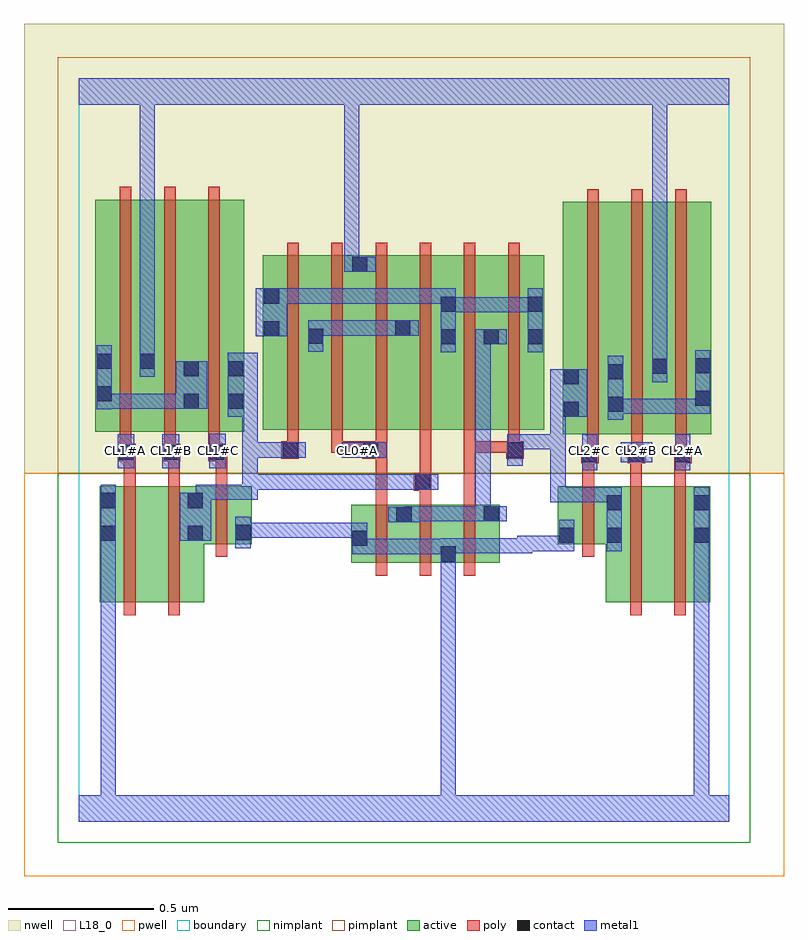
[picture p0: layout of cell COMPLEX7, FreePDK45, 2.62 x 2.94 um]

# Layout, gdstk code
import gdstk
lib = gdstk.Library(unit=1e-6, precision=1e-09)
def R(c, l, rs):  # rectangles x0, y0, x1, y1
    for r in rs: c.add(gdstk.rectangle(r[:2], r[2:], *l))
def A(c, l, x, y, w, h, nx, ny, dx, dy):  # array of equal rectangles
    R(c, l, [(x+i*dx, y+j*dy, x+i*dx+w, y+j*dy+h) for i in range(nx) for j in range(ny)])
active = (1, 0)
pwell = (2, 0)
nwell = (3, 0)
nimplant = (4, 0)
pimplant = (5, 0)
poly = (9, 0)
contact = (10, 0)
metal1 = (11, 0)
L18_0 = (18, 0)
boundary = (235, 0)

complex7 = lib.new_cell('COMPLEX7')
A(complex7, active, 1.666, 1.334, 0.06, 0.71, 3, 1, 0.152, 0)
R(complex7, active, [(0.072,0.756,0.132,1.156), (0.072,0.756,0.252,1.156), (0.252,0.756,0.432,1.156), (0.372,0.756,0.432,1.156), (1.814,0.756,1.874,1.156), (1.814,0.756,1.994,1.156), (1.994,0.756,2.174,1.156), (2.114,0.756,2.174,1.156), (0.938,0.892,0.998,1.092), (0.938,0.892,1.15,1.092), (1.09,0.892,1.302,1.092), (1.242,0.892,1.45,1.092), (1.242,0.892,1.302,1.058), (1.39,0.892,1.45,1.092), (0.372,0.956,0.596,1.156), (0.536,0.956,0.596,1.156), (1.09,0.956,1.15,1.09), (1.65,0.956,1.874,1.156), (1.65,0.956,1.71,1.156), (1.666,1.334,1.878,2.134), (1.818,1.334,2.03,2.134), (1.97,1.334,2.178,2.134), (2.118,1.334,2.178,2.044), (0.058,1.342,0.266,2.142), (0.058,1.342,0.118,2.142), (0.206,1.342,0.418,2.142), (0.358,1.342,0.57,2.142), (0.358,1.342,0.418,2.142), (0.51,1.342,0.57,2.044), (0.634,1.35,0.846,1.95), (0.634,1.35,0.694,1.844), (0.786,1.35,0.998,1.95), (0.786,1.35,0.846,1.844), (0.938,1.35,0.998,1.95), (0.938,1.35,1.146,1.95), (1.086,1.35,1.146,1.844), (1.086,1.35,1.302,1.95), (1.242,1.35,1.302,1.844), (1.242,1.35,1.45,1.95), (1.39,1.35,1.602,1.95), (1.39,1.35,1.45,1.844), (1.542,1.35,1.602,1.95), (0.206,1.422,0.266,2.142)])
R(complex7, pwell, [(-0.188,-0.188,2.428,1.2)])
R(complex7, nwell, [(-0.188,1.2,2.428,2.748)])
R(complex7, nimplant, [(-0.072,-0.072,2.312,1.2)])
R(complex7, pimplant, [(-0.072,1.2,2.312,2.632)])
A(complex7, poly, 1.022, 0.848, 0.04, 0.288, 3, 1, 0.152, 0)
A(complex7, poly, 1.73, 1.234, 0.06, 0.06, 3, 1, 0.16, 0)
A(complex7, poly, 1.75, 1.254, 0.04, 0.076, 3, 1, 0.152, 0)
A(complex7, poly, 0.142, 1.262, 0.04, 0.076, 3, 1, 0.152, 0)
A(complex7, poly, 0.718, 1.27, 0.04, 0.076, 3, 1, 0.152, 0)
A(complex7, poly, 1.75, 1.29, 0.04, 0.888, 3, 1, 0.152, 0)
A(complex7, poly, 0.142, 1.298, 0.04, 0.888, 3, 1, 0.152, 0)
A(complex7, poly, 0.718, 1.306, 0.04, 0.688, 6, 1, 0.152, 0)
R(complex7, poly, [(0.156,0.712,0.196,1.2), (0.308,0.712,0.348,1.2), (1.898,0.712,1.938,1.2), (2.05,0.712,2.09,1.2), (0.472,0.912,0.512,1.2), (1.734,0.912,1.774,1.2), (1.022,1.096,1.062,1.29), (1.174,1.096,1.214,1.18), (1.326,1.096,1.366,1.31), (1.154,1.14,1.214,1.2), (0.156,1.16,0.196,1.282), (0.308,1.16,0.348,1.282), (0.472,1.16,0.512,1.282), (1.174,1.16,1.214,1.2), (1.174,1.16,1.214,1.2), (1.174,1.16,1.214,1.346), (1.734,1.16,1.774,1.274), (1.898,1.16,1.938,1.274), (2.05,1.16,2.09,1.274), (1.898,1.234,1.938,1.274), (1.898,1.234,1.938,1.274), (0.136,1.242,0.196,1.302), (0.29,1.242,0.35,1.302), (0.446,1.242,0.506,1.302), (0.466,1.242,0.506,1.282), (0.466,1.242,0.512,1.282), (0.698,1.25,0.758,1.31), (0.976,1.25,1.062,1.31), (1.022,1.25,1.062,1.29), (1.022,1.25,1.062,1.29), (1.472,1.25,1.532,1.31), (1.75,1.254,1.79,1.294), (1.75,1.254,1.79,1.294), (2.054,1.254,2.094,1.294), (2.054,1.254,2.094,1.294), (0.142,1.262,0.182,1.302), (0.142,1.262,0.182,1.302), (0.294,1.262,0.334,1.302), (0.294,1.262,0.334,1.302), (0.87,1.27,0.91,1.31), (0.87,1.27,1.016,1.31), (0.976,1.27,1.016,1.31), (0.976,1.27,1.016,1.31), (1.326,1.27,1.366,1.346), (1.326,1.27,1.366,1.31), (1.326,1.27,1.366,1.31), (1.326,1.27,1.366,1.31), (1.326,1.27,1.366,1.31), (1.326,1.27,1.366,1.31), (1.326,1.27,1.512,1.31), (1.478,1.27,1.518,1.346)])
A(complex7, contact, 1.734, 1.238, 0.052, 0.052, 3, 1, 0.16, 0)
R(complex7, contact, [(1.246,0.896,1.298,0.948), (0.942,0.95,0.994,1.002), (1.654,0.96,1.706,1.012), (1.818,0.96,1.87,1.012), (2.118,0.96,2.17,1.012), (0.076,0.968,0.128,1.02), (0.376,0.968,0.428,1.02), (0.54,0.97,0.592,1.022), (1.094,1.032,1.146,1.084), (1.394,1.034,1.446,1.086), (1.818,1.072,1.87,1.124), (2.118,1.072,2.17,1.124), (0.076,1.08,0.128,1.132), (0.376,1.08,0.428,1.132), (1.158,1.144,1.21,1.196), (0.14,1.246,0.192,1.298), (0.294,1.246,0.346,1.298), (0.45,1.246,0.502,1.298), (0.702,1.254,0.754,1.306), (0.98,1.254,1.032,1.306), (1.476,1.254,1.528,1.306), (1.67,1.394,1.722,1.446), (1.822,1.412,1.874,1.464), (0.362,1.422,0.414,1.474), (0.514,1.422,0.566,1.474), (2.122,1.432,2.174,1.484), (0.062,1.448,0.114,1.5), (1.67,1.506,1.722,1.558), (1.822,1.524,1.874,1.576), (0.362,1.534,0.414,1.586), (0.514,1.534,0.566,1.586), (1.974,1.542,2.026,1.594), (2.122,1.544,2.174,1.596), (0.062,1.56,0.114,1.612), (0.21,1.56,0.262,1.612), (1.246,1.644,1.298,1.696), (1.394,1.644,1.446,1.696), (1.546,1.644,1.598,1.696), (0.79,1.646,0.842,1.698), (0.638,1.672,0.69,1.724), (1.09,1.674,1.142,1.726), (1.246,1.756,1.298,1.808), (1.546,1.756,1.598,1.808), (0.638,1.784,0.69,1.836), (0.942,1.894,0.994,1.946)])
R(complex7, metal1, [(0,0,2.24,0.092), (0.076,0.04,0.128,0.092), (0.076,0.04,0.128,0.092), (0.076,0.04,0.128,0.092), (0.076,0.04,0.128,0.092), (0.076,0.04,0.128,0.092), (0.076,0.04,0.128,0.092), (0.076,0.04,0.128,0.092), (0.076,0.04,0.128,0.092), (0.076,0.04,0.128,0.092), (0.076,0.04,0.128,0.092), (0.076,0.04,0.128,0.992), (1.246,0.04,1.298,0.092), (1.246,0.04,1.298,0.092), (1.246,0.04,1.298,0.092), (1.246,0.04,1.298,0.092), (1.246,0.04,1.298,0.092), (1.246,0.04,1.298,0.092), (1.246,0.04,1.298,0.092), (1.246,0.04,1.298,0.092), (1.246,0.04,1.298,0.092), (1.246,0.04,1.298,0.092), (1.246,0.04,1.298,0.092), (1.246,0.04,1.298,0.092), (1.246,0.04,1.298,0.092), (1.246,0.04,1.298,0.092), (1.246,0.04,1.298,0.092), (1.246,0.04,1.298,0.092), (1.246,0.04,1.298,0.92), (2.118,0.04,2.17,0.092), (2.118,0.04,2.17,0.092), (2.118,0.04,2.17,0.092), (2.118,0.04,2.17,0.092), (2.118,0.04,2.17,0.984), (1.246,0.868,1.298,0.976), (0.942,0.922,0.994,0.974), (0.942,0.922,0.994,0.974), (0.942,0.922,0.994,1.03), (0.942,0.922,1.188,0.974), (1.136,0.922,1.188,0.974), (1.136,0.922,1.188,0.974), (1.136,0.922,1.188,0.974), (1.136,0.922,1.298,0.974), (1.246,0.924,1.298,0.976), (1.246,0.924,1.298,0.976), (1.246,0.924,1.452,0.976), (1.4,0.924,1.452,0.976), (1.4,0.924,1.452,0.976), (1.4,0.924,1.452,0.976), (1.4,0.924,1.562,0.976), (1.51,0.924,1.562,0.984), (1.51,0.932,1.706,0.984), (1.654,0.932,1.706,1.04), (1.818,0.932,1.87,1.152), (2.118,0.932,2.17,0.984), (2.118,0.932,2.17,0.984), (2.118,0.932,2.17,0.984), (2.118,0.932,2.17,0.984), (2.118,0.932,2.17,0.984), (2.118,0.932,2.17,0.984), (2.118,0.932,2.17,0.984), (2.118,0.932,2.17,0.984), (2.118,0.932,2.17,1.152), (0.076,0.94,0.128,0.992), (0.076,0.94,0.128,0.992), (0.076,0.94,0.128,1.16), (0.54,0.942,0.592,1.05), (0.348,0.968,0.456,1.132), (0.54,0.978,0.732,1.03), (0.68,0.978,0.732,1.03), (0.68,0.978,0.732,1.03), (0.68,0.978,0.732,1.03), (0.68,0.978,0.842,1.03), (0.79,0.978,0.842,1.03), (0.79,0.978,0.842,1.03), (0.79,0.978,0.842,1.03), (0.79,0.978,0.994,1.03), (0.942,0.978,0.994,1.03), (0.942,0.978,0.994,1.03), (1.066,1.032,1.174,1.084), (1.122,1.032,1.174,1.084), (1.122,1.032,1.174,1.086), (1.122,1.034,1.308,1.086), (1.256,1.034,1.308,1.086), (1.256,1.034,1.308,1.086), (1.256,1.034,1.308,1.086), (1.256,1.034,1.418,1.086), (1.366,1.034,1.474,1.086), (1.366,1.034,1.418,1.696), (0.404,1.08,0.456,1.16), (1.624,1.1,1.676,1.152), (1.624,1.1,1.786,1.152), (1.624,1.1,1.676,1.334), (1.734,1.1,1.786,1.152), (1.734,1.1,1.87,1.152), (0.404,1.108,0.456,1.16), (0.404,1.108,0.456,1.16), (0.404,1.108,0.456,1.16), (0.404,1.108,0.616,1.16), (0.564,1.108,0.616,1.196), (0.564,1.144,0.616,1.196), (0.564,1.144,0.616,1.196), (0.564,1.144,0.732,1.196), (0.564,1.144,0.616,1.306), (0.68,1.144,0.732,1.196), (0.68,1.144,0.842,1.196), (0.79,1.144,0.842,1.196), (0.79,1.144,0.842,1.196), (0.79,1.144,0.842,1.196), (0.79,1.144,1.004,1.196), (0.952,1.144,1.004,1.196), (0.952,1.144,1.004,1.196), (0.952,1.144,1.004,1.196), (0.952,1.144,1.182,1.196), (1.13,1.144,1.182,1.196), (1.13,1.144,1.182,1.196), (1.13,1.144,1.238,1.196), (1.734,1.21,1.786,1.334), (2.054,1.21,2.106,1.334), (0.134,1.218,0.192,1.334), (0.288,1.218,0.346,1.334), (0.45,1.218,0.506,1.336), (1.476,1.226,1.528,1.334), (1.866,1.238,1.974,1.306), (0.564,1.254,0.616,1.306), (0.564,1.254,0.726,1.306), (0.564,1.254,0.616,1.446), (0.674,1.254,0.726,1.306), (0.674,1.254,0.726,1.306), (0.674,1.254,0.782,1.306), (0.906,1.254,1.06,1.306), (1.476,1.282,1.676,1.334), (1.624,1.282,1.676,1.334), (1.624,1.282,1.676,1.334), (1.624,1.282,1.676,1.334), (1.624,1.282,1.676,1.334), (1.624,1.282,1.676,1.334), (1.624,1.282,1.676,1.446), (1.822,1.384,1.874,1.604), (0.514,1.394,0.616,1.614), (1.624,1.394,1.75,1.558), (1.822,1.404,1.996,1.456), (1.944,1.404,1.996,1.456), (1.944,1.404,2.06,1.456), (2.008,1.404,2.06,1.456), (2.008,1.404,2.174,1.456), (2.122,1.404,2.174,1.456), (2.122,1.404,2.174,1.456), (2.122,1.404,2.174,1.624), (0.062,1.42,0.114,1.64), (0.062,1.422,0.114,1.474), (0.062,1.422,0.114,1.474), (0.062,1.422,0.276,1.474), (0.224,1.422,0.276,1.474), (0.224,1.422,0.276,1.474), (0.224,1.422,0.276,1.474), (0.224,1.422,0.386,1.474), (0.334,1.422,0.442,1.586), (1.974,1.514,2.026,1.622), (0.21,1.532,0.262,1.64), (1.974,1.57,2.026,1.622), (1.974,1.57,2.026,1.622), (1.974,1.57,2.026,2.52), (0.21,1.588,0.262,1.64), (0.21,1.588,0.262,1.64), (0.21,1.588,0.262,1.64), (0.21,1.588,0.262,1.64), (0.21,1.588,0.262,2.52), (1.246,1.616,1.298,1.836), (1.546,1.616,1.598,1.836), (0.79,1.618,0.842,1.726), (1.366,1.644,1.418,1.696), (1.366,1.644,1.418,1.696), (1.366,1.644,1.418,1.696), (1.366,1.644,1.418,1.696), (1.366,1.644,1.474,1.696), (0.61,1.672,0.718,1.836), (0.79,1.674,0.842,1.726), (0.79,1.674,0.842,1.726), (0.79,1.674,1.004,1.726), (0.952,1.674,1.004,1.726), (0.952,1.674,1.004,1.726), (0.952,1.674,1.004,1.726), (0.952,1.674,1.114,1.726), (1.062,1.674,1.17,1.726), (1.246,1.754,1.298,1.806), (1.246,1.754,1.298,1.806), (1.246,1.754,1.418,1.806), (1.366,1.754,1.418,1.806), (1.366,1.754,1.418,1.806), (1.366,1.754,1.418,1.806), (1.366,1.754,1.598,1.806), (0.666,1.784,0.726,1.836), (0.674,1.784,0.726,1.836), (0.674,1.784,0.842,1.836), (0.79,1.784,0.842,1.836), (0.79,1.784,0.842,1.836), (0.79,1.784,0.842,1.836), (0.79,1.784,0.952,1.836), (0.9,1.784,0.952,1.836), (0.9,1.784,0.952,1.836), (0.9,1.784,0.952,1.836), (0.9,1.784,1.114,1.836), (1.062,1.784,1.114,1.836), (1.062,1.784,1.114,1.836), (1.062,1.784,1.114,1.836), (1.062,1.784,1.298,1.836), (0.914,1.894,0.966,1.946), (0.914,1.894,0.966,1.946), (0.914,1.894,0.966,1.946), (0.914,1.894,0.966,1.946), (0.914,1.894,0.966,1.946), (0.914,1.894,0.966,1.946), (0.914,1.894,0.966,1.946), (0.914,1.894,0.966,1.946), (0.914,1.894,1.022,1.946), (0.914,1.894,0.966,2.52), (0,2.468,2.24,2.56), (0.21,2.468,0.262,2.52), (0.21,2.468,0.262,2.52), (0.21,2.468,0.262,2.52), (0.21,2.468,0.262,2.52), (0.914,2.468,0.966,2.52), (0.914,2.468,0.966,2.52), (0.914,2.468,0.966,2.52), (0.914,2.468,0.966,2.52), (1.974,2.468,2.026,2.52), (1.974,2.468,2.026,2.52), (1.974,2.468,2.026,2.52), (1.974,2.468,2.026,2.52), (1.974,2.468,2.026,2.52), (1.974,2.468,2.026,2.52)])
A(complex7, L18_0, 0.134, 1.254, 0.052, 0.052, 3, 1, 0.16, 0)
A(complex7, L18_0, 1.734, 1.254, 0.052, 0.052, 3, 1, 0.16, 0)
R(complex7, L18_0, [(0,0,2.24,0.092), (0.076,0.04,0.128,0.092), (0.076,0.04,0.128,0.092), (0.076,0.04,0.128,0.092), (0.076,0.04,0.128,0.092), (0.076,0.04,0.128,0.092), (0.076,0.04,0.128,0.092), (0.076,0.04,0.128,0.092), (0.076,0.04,0.128,0.092), (0.076,0.04,0.128,0.092), (0.076,0.04,0.128,0.092), (0.076,0.04,0.128,0.992), (1.246,0.04,1.298,0.092), (1.246,0.04,1.298,0.092), (1.246,0.04,1.298,0.092), (1.246,0.04,1.298,0.092), (1.246,0.04,1.298,0.092), (1.246,0.04,1.298,0.092), (1.246,0.04,1.298,0.092), (1.246,0.04,1.298,0.092), (1.246,0.04,1.298,0.092), (1.246,0.04,1.298,0.092), (1.246,0.04,1.298,0.092), (1.246,0.04,1.298,0.092), (1.246,0.04,1.298,0.092), (1.246,0.04,1.298,0.092), (1.246,0.04,1.298,0.092), (1.246,0.04,1.298,0.092), (1.246,0.04,1.298,0.92), (2.118,0.04,2.17,0.092), (2.118,0.04,2.17,0.092), (2.118,0.04,2.17,0.092), (2.118,0.04,2.17,0.092), (2.118,0.04,2.17,0.984), (1.246,0.868,1.298,0.976), (0.942,0.922,0.994,0.974), (0.942,0.922,0.994,0.974), (0.942,0.922,0.994,1.03), (0.942,0.922,1.188,0.974), (1.136,0.922,1.188,0.974), (1.136,0.922,1.188,0.974), (1.136,0.922,1.188,0.974), (1.136,0.922,1.298,0.974), (1.246,0.924,1.298,0.976), (1.246,0.924,1.298,0.976), (1.246,0.924,1.452,0.976), (1.4,0.924,1.452,0.976), (1.4,0.924,1.452,0.976), (1.4,0.924,1.452,0.976), (1.4,0.924,1.562,0.976), (1.51,0.924,1.562,0.984), (1.51,0.932,1.706,0.984), (1.654,0.932,1.706,1.04), (2.118,0.932,2.17,0.984), (2.118,0.932,2.17,0.984), (2.118,0.932,2.17,0.984), (2.118,0.932,2.17,0.984), (2.118,0.932,2.17,0.984), (2.118,0.932,2.17,0.984), (2.118,0.932,2.17,0.984), (2.118,0.932,2.17,0.984), (2.118,0.932,2.17,1.152), (0.076,0.94,0.128,0.992), (0.076,0.94,0.128,0.992), (0.076,0.94,0.128,1.16), (0.54,0.942,0.592,1.05), (0.54,0.978,0.732,1.03), (0.68,0.978,0.732,1.03), (0.68,0.978,0.732,1.03), (0.68,0.978,0.732,1.03), (0.68,0.978,0.842,1.03), (0.79,0.978,0.842,1.03), (0.79,0.978,0.842,1.03), (0.79,0.978,0.842,1.03), (0.79,0.978,0.994,1.03), (0.942,0.978,0.994,1.03), (0.942,0.978,0.994,1.03), (1.734,1.21,1.786,1.334), (2.054,1.21,2.106,1.334), (0.134,1.218,0.192,1.334), (0.288,1.218,0.346,1.334), (0.45,1.218,0.506,1.336), (1.866,1.238,1.974,1.306), (0.906,1.254,1.06,1.306), (0.934,1.254,0.986,1.306), (1.974,1.514,2.026,1.622), (0.21,1.532,0.262,1.64), (1.974,1.57,2.026,1.622), (1.974,1.57,2.026,1.622), (1.974,1.57,2.026,2.52), (0.21,1.588,0.262,1.64), (0.21,1.588,0.262,1.64), (0.21,1.588,0.262,1.64), (0.21,1.588,0.262,1.64), (0.21,1.588,0.262,2.52), (0.914,1.894,0.966,1.946), (0.914,1.894,0.966,1.946), (0.914,1.894,0.966,1.946), (0.914,1.894,0.966,1.946), (0.914,1.894,0.966,1.946), (0.914,1.894,0.966,1.946), (0.914,1.894,0.966,1.946), (0.914,1.894,0.966,1.946), (0.914,1.894,1.022,1.946), (0.914,1.894,0.966,2.52), (0,2.468,2.24,2.56), (0.21,2.468,0.262,2.52), (0.21,2.468,0.262,2.52), (0.21,2.468,0.262,2.52), (0.21,2.468,0.262,2.52), (0.914,2.468,0.966,2.52), (0.914,2.468,0.966,2.52), (0.914,2.468,0.966,2.52), (0.914,2.468,0.966,2.52), (1.974,2.468,2.026,2.52), (1.974,2.468,2.026,2.52), (1.974,2.468,2.026,2.52), (1.974,2.468,2.026,2.52), (1.974,2.468,2.026,2.52), (1.974,2.468,2.026,2.52)])
R(complex7, boundary, [(0,0,2.24,2.56)])
complex7.add(gdstk.Label('CL0#A', (0.96,1.28), layer=11, texttype=0))
complex7.add(gdstk.Label('CL1#A', (0.16,1.28), layer=11, texttype=0))
complex7.add(gdstk.Label('CL1#B', (0.32,1.28), layer=11, texttype=0))
complex7.add(gdstk.Label('CL1#C', (0.48,1.28), layer=11, texttype=0))
complex7.add(gdstk.Label('CL2#A', (2.08,1.28), layer=11, texttype=0))
complex7.add(gdstk.Label('CL2#B', (1.92,1.28), layer=11, texttype=0))
complex7.add(gdstk.Label('CL2#C', (1.76,1.28), layer=11, texttype=0))

lib.write_gds('COMPLEX7.gds')
